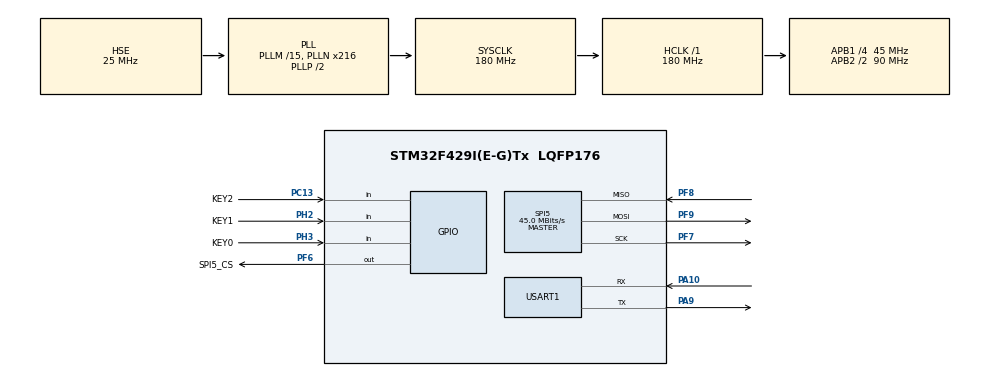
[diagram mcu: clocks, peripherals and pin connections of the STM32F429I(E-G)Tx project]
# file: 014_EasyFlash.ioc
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Mcu.Family=STM32F4
Mcu.Name=STM32F429I(E-G)Tx
Mcu.Package=LQFP176
NVIC.PriorityGroup=NVIC_PRIORITYGROUP_2
NVIC.TIM2_IRQn=true\:1\:0\:true\:false\:true\:true\:true
NVIC.USART1_IRQn=true\:1\:0\:true\:false\:true\:true\:true
PA10.Mode=Asynchronous
PA10.Signal=USART1_RX
PA13.Mode=Serial_Wire
PA13.Signal=SYS_JTMS-SWDIO
PA14.Mode=Serial_Wire
PA14.Signal=SYS_JTCK-SWCLK
PA9.Mode=Asynchronous
PA9.Signal=USART1_TX
PC13.GPIO_Label=KEY2
PC13.GPIO_PuPd=GPIO_PULLUP
PC13.Signal=GPIO_Input
PC14/OSC32_IN.Mode=LSE-External-Oscillator
PC14/OSC32_IN.Signal=RCC_OSC32_IN
PC15/OSC32_OUT.Mode=LSE-External-Oscillator
PC15/OSC32_OUT.Signal=RCC_OSC32_OUT
PF6.GPIO_Label=SPI5_CS
PF6.GPIO_PuPd=GPIO_PULLUP
PF6.GPIO_Speed=GPIO_SPEED_FREQ_VERY_HIGH
PF6.PinState=GPIO_PIN_SET
PF6.Signal=GPIO_Output
PF7.Mode=Full_Duplex_Master
PF7.Signal=SPI5_SCK
PF8.Mode=Full_Duplex_Master
PF8.Signal=SPI5_MISO
PF9.Mode=Full_Duplex_Master
PF9.Signal=SPI5_MOSI
PH0/OSC_IN.Mode=HSE-External-Oscillator
PH0/OSC_IN.Signal=RCC_OSC_IN
PH1/OSC_OUT.Mode=HSE-External-Oscillator
PH1/OSC_OUT.Signal=RCC_OSC_OUT
PH2.GPIO_Label=KEY1
PH2.GPIO_PuPd=GPIO_PULLUP
PH2.Signal=GPIO_Input
PH3.GPIO_Label=KEY0
PH3.GPIO_PuPd=GPIO_PULLUP
PH3.Signal=GPIO_Input
ProjectManager.HeapSize=0x200
ProjectManager.StackSize=0x400
ProjectManager.TargetToolchain=MDK-ARM V5.27
RCC.48MHZClocksFreq_Value=90000000
RCC.AHBFreq_Value=180000000
RCC.APB1CLKDivider=RCC_HCLK_DIV4
RCC.APB1Freq_Value=45000000
RCC.APB1TimFreq_Value=90000000
RCC.APB2CLKDivider=RCC_HCLK_DIV2
RCC.APB2Freq_Value=90000000
RCC.APB2TimFreq_Value=180000000
RCC.CortexFreq_Value=180000000
RCC.HCLKFreq_Value=180000000
RCC.HSE_VALUE=25000000
RCC.HSI_VALUE=16000000
RCC.PLLM=15
RCC.PLLN=216
RCC.PLLSourceVirtual=RCC_PLLSOURCE_HSE
RCC.SYSCLKFreq_VALUE=180000000
RCC.SYSCLKSource=RCC_SYSCLKSOURCE_PLLCLK
RCC.VCOOutputFreq_Value=360000000
SPI5.BaudRatePrescaler=SPI_BAUDRATEPRESCALER_2
SPI5.CalculateBaudRate=45.0 MBits/s
SPI5.Direction=SPI_DIRECTION_2LINES
SPI5.Mode=SPI_MODE_MASTER
SPI5.VirtualType=VM_MASTER
TIM2.Period=5-1
TIM2.Prescaler=45000-1
TIM6.AutoReloadPreload=TIM_AUTORELOAD_PRELOAD_ENABLE
TIM6.Period=65535
TIM6.Prescaler=45-1
USART1.VirtualMode=VM_ASYNC
VP_TIM2_VS_ClockSourceINT.Mode=Internal
VP_TIM6_VS_ClockSourceINT.Mode=Enable_Timer
board=custom

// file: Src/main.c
/* USER CODE BEGIN Header */
/**
  ******************************************************************************
  * @file           : main.c
  * @brief          : Main program body
  ******************************************************************************
  * @attention
  *
  * <h2><center>&copy; Copyright (c) 2021 STMicroelectronics.
  * All rights reserved.</center></h2>
  *
  * This software component is licensed by ST under BSD 3-Clause license,
  * the "License"; You may not use this file except in compliance with the
  * License. You may obtain a copy of the License at:
  *                        opensource.org/licenses/BSD-3-Clause
  *
  ******************************************************************************
  */
/* USER CODE END Header */

#include "main.h"
#include "spi.h"
#include "tim.h"
#include "usart.h"
#include "gpio.h"

/* USER CODE BEGIN Includes */
#include "config.h"

/* USER CODE END Includes */

void SystemClock_Config(void);

/* USER CODE BEGIN 0 */

//串口屏发送的校准  纸张数
int HMI_Page_Number = 0;

//开辟一块内存用于存放环形队列消息缓冲区
#define MSG_BUFFDATA_SIZE	128
static uint8_t msg_buffdata[MSG_BUFFDATA_SIZE];

//用于存储消息的环形缓冲队列的rt_ringbuffer句柄
struct rt_ringbuffer	msg_ringbuffer;

//系统消息处理
static uint8_t message_buff[256];
void msg_process(void)
{
	system_message sys_msg;

	if(rt_ringbuffer_data_len(&msg_ringbuffer)!= 0) //消息队列不为空，则有消息需要处理
	{
		rt_ringbuffer_get(&msg_ringbuffer,(uint8_t *) &sys_msg.msg_type, 2);//读取消息类型(1字节) + 消息参数(1字节)，其中：不同消息类型对应的消息参数意义也不同，由用户自行定义

		switch(sys_msg.msg_type)
		{
			case MSG_USART1_REC_FINISH://将内容放入HMIPaperNumber中
				rt_ringbuffer_get(&usart1_recv_ring_buf, message_buff, sys_msg.msg_parameter);//
				if(sys_msg.msg_parameter == 1 || sys_msg.msg_parameter == 2 )//sys_msg.msg_parameter中存放的是串口1接收帧的长度信息为1或2帧，即两位数字
				{
					HMI_Page_Number = (message_buff[1] - 48) *10 + (message_buff[0] - 48);//此处ASCII值，-“0”转化成数字

					printf("校准纸张数量为：%d\n",HMI_Page_Number);
				}
				else//sys_msg.msg_parameter中存放的是串口1接收帧的长度信息不为纸张帧数帧，即非两位数字
				{
				  message_buff[sys_msg.msg_parameter] = '\0';//sys_msg.msg_parameter中存放的是串口1接收帧的长度信息
			    printf("非输入合适的纸张数量：%s\n",message_buff);
				}
				break;

			case MSG_FDC2214_Data_Adjust:
				FDC2214_Data_Adjust();
				break;

			case MSG_Capcity_Paper_Detection:
				Capcity_Paper_Detection();
				break;
			default:break;
		}
	}
}

//申请三个按键结构
struct Button button0;

//三个按键状态读取接口
uint8_t read_button0_GPIO()
{
	return HAL_GPIO_ReadPin(KEY0_GPIO_Port, KEY0_Pin);
}

//按键回调函数
void button0_callback(void *button)
{
		//系统消息
		system_message  sys_msg;

    uint32_t btn_event_val;

    btn_event_val = get_button_event((struct Button *)button);

    switch(btn_event_val)
    {
	    case PRESS_DOWN:
	        printf("---> key0 press down! <---\r\n");
	    	break;

	    case PRESS_UP:
	        printf("***> key0 press up! <***\r\n");
	    	break;

	    case PRESS_REPEAT:
	        printf("---> key0 press repeat! <---\r\n");
	    	break;

	    case SINGLE_CLICK: //send msg MSG_W25QXX_TEST,in order to test w25q64 example
//					sys_msg.msg_type = MSG_W25QXX_TEST;
					sys_msg.msg_type = MSG_FDC2214_Data_Adjust;
					sys_msg.msg_parameter = 0;
					rt_ringbuffer_put(&msg_ringbuffer,(uint8_t *)&sys_msg.msg_type,2);
	        printf("---> key0 single click! <---\r\n");
	    	break;

			case DOUBLE_CLICK://send msg MSG_EASYFLASH_TEST,in order to test EASYFLASH example
//					sys_msg.msg_type = MSG_EASYFLASH_TEST;
					sys_msg.msg_type = MSG_Capcity_Paper_Detection;
					sys_msg.msg_parameter = 0;
					rt_ringbuffer_put(&msg_ringbuffer,(uint8_t *)&sys_msg.msg_type,2);
					printf("---> key0 double click! <---\r\n");
				break;

	    case LONG_PRESS_START:
	        printf("---> key0 long press start! <---\r\n");
	   		break;

	    case LONG_PRESS_HOLD:
	        printf("***> key0 long press hold! <***\r\n");
	    	break;
	}
}

//TIM回调
void HAL_TIM_PeriodElapsedCallback(TIM_HandleTypeDef *htim)
{
	//处理TIM2定时中断，进行按键处理 5ms
	if(htim->Instance == htim2.Instance)
	{
		button_ticks();
	}

}

/*****************************w25qxx example****************************************/
char w25qxx_test_string[6][128]={
	"***************************Copyright (c)***************************",
	"**----------------------Hello World !!! -------------------------**",
	"** Thanks to armink:https://github.com/armink/SFUD               **",
	"** reference:                                                    **",
	"** https://mculover666.blog.csdn.net/article/details/105516371   **",
	"*******************************************************************"
};
//w25qxx_test测试
//void w25qxx_test(void)
//{
//	int i;
//	char sBuff[256]={0};
////	sfud_err result = SFUD_SUCCESS;
//    const sfud_flash *flash = sfud_get_device_table() + 0;
//
//	for(i=0;i<6;i++)
//	{
//		sfud_erase_write(flash, 0, strlen(w25qxx_test_string[i]),(uint8_t *)w25qxx_test_string[i]);
//	    sfud_read(flash, 0, strlen(w25qxx_test_string[i]),(uint8_t *) sBuff);
//	    printf("%s\n",sBuff);
//	}
//}

//初始化easyflash函数返回值，用于判断是否初始化成功
unsigned char ret = 0;

//编写一个EasyFlash测试函数
//void test_env(void)
//{
//	char wifi_ssid[20] = {0};
//	char wifi_passwd[20] = {0};
//	size_t len = 0;
//
//	/* 读取默认环境变量值 */
//	//环境变量长度未知，先获取 Flash 上存储的实际长度 */
//	ef_get_env_blob("wifi_ssid", NULL, 0, &len);
//	//获取环境变量
//	ef_get_env_blob("wifi_ssid", wifi_ssid, len, NULL);
//	//打印获取的环境变量值
//	printf("wifi_ssid env is:%s\r\n", wifi_ssid);
//
//	//环境变量长度未知，先获取 Flash 上存储的实际长度 */
//	ef_get_env_blob("wifi_passwd", NULL, 0, &len);
//	//获取环境变量
//	ef_get_env_blob("wifi_passwd", wifi_passwd, len, NULL);
//	//打印获取的环境变量值
//	printf("wifi_passwd env is:%s\r\n", wifi_passwd);
//
//	/* 将环境变量值改变 */
//	ef_set_env_blob("wifi_ssid", "SSID_TEST", 9);
//	ef_set_env_blob("wifi_passwd", "66666666", 8);

//}

/* USER CODE END 0 */

int main(void)
{

  /* MCU Configuration--------------------------------------------------------*/

  /* Reset of all peripherals, Initializes the Flash interface and the Systick. */
  HAL_Init();

  /* Configure the system clock */
  SystemClock_Config();

  /* Initialize all configured peripherals */
  MX_GPIO_Init();
  MX_SPI5_Init();
  MX_USART1_UART_Init();
  MX_TIM2_Init();
  MX_TIM6_Init();
  /* USER CODE BEGIN 2 */

	printf("MultiButton+RingBuffer+SFUD+EasyFlash+fdc Test...\r\n");

	//初始化消息环形队列
	IIC_Init();
  HAL_Delay_us(5);

	//初始化消息环形队列
	FDC2214_Init();
	HAL_Delay_us(5);

	//初始化消息环形队列
	rt_ringbuffer_init(&msg_ringbuffer, msg_buffdata, MSG_BUFFDATA_SIZE);
  HAL_Delay_us(5);

	//初始化sfud
//	sfud_init();

	//初始化easyflash
	easyflash_init();
	HAL_Delay_us(5);
	if(ret != EF_NO_ERR)
{
	printf("EasyFlash init fail, EfErrCode = %d.r\n", ret);
}

	//初始化三个按键对象
	button_init(&button0, read_button0_GPIO, 0);

	//注册按钮事件回调函数
	//按键0
//	button_attach(&button0, PRESS_DOWN,       button1_callback);
//	button_attach(&button0, PRESS_UP,         button1_callback);
//	button_attach(&button0, PRESS_REPEAT,     button1_callback);
	button_attach(&button0, SINGLE_CLICK,     button0_callback);
	button_attach(&button0, DOUBLE_CLICK,     button0_callback);
//	button_attach(&button0, LONG_PRESS_START, button1_callback);
//	button_attach(&button0, LONG_PRESS_HOLD,  button1_callback);

	//启动按键
	button_start(&button0);

	//启动定时器
	HAL_TIM_Base_Start_IT(&htim2);

	//读取Flash中的数据，分割好 电容区间
	DataSubsection(Cap_Division,FDC2214_Data_In_Flash);

  /* USER CODE END 2 */

  /* Infinite loop */
  /* USER CODE BEGIN WHILE */
  while (1)
  {
		//		HAL_Delay(200);
		msg_process();

    /* USER CODE END WHILE */

  }
}

void SystemClock_Config(void)
{
  RCC_OscInitTypeDef RCC_OscInitStruct = {0};
  RCC_ClkInitTypeDef RCC_ClkInitStruct = {0};

  /** Configure the main internal regulator output voltage
  */
  __HAL_RCC_PWR_CLK_ENABLE();
  __HAL_PWR_VOLTAGESCALING_CONFIG(PWR_REGULATOR_VOLTAGE_SCALE1);
  /** Initializes the CPU, AHB and APB busses clocks
  */
  RCC_OscInitStruct.OscillatorType = RCC_OSCILLATORTYPE_HSE;
  RCC_OscInitStruct.HSEState = RCC_HSE_ON;
  RCC_OscInitStruct.PLL.PLLState = RCC_PLL_ON;
  RCC_OscInitStruct.PLL.PLLSource = RCC_PLLSOURCE_HSE;
  RCC_OscInitStruct.PLL.PLLM = 15;
  RCC_OscInitStruct.PLL.PLLN = 216;
  RCC_OscInitStruct.PLL.PLLP = RCC_PLLP_DIV2;
  RCC_OscInitStruct.PLL.PLLQ = 4;
  if (HAL_RCC_OscConfig(&RCC_OscInitStruct) != HAL_OK)
  {
    Error_Handler();
  }
  /** Activate the Over-Drive mode
  */
  if (HAL_PWREx_EnableOverDrive() != HAL_OK)
  {
    Error_Handler();
  }
  /** Initializes the CPU, AHB and APB busses clocks
  */
  RCC_ClkInitStruct.ClockType = RCC_CLOCKTYPE_HCLK|RCC_CLOCKTYPE_SYSCLK
                              |RCC_CLOCKTYPE_PCLK1|RCC_CLOCKTYPE_PCLK2;
  RCC_ClkInitStruct.SYSCLKSource = RCC_SYSCLKSOURCE_PLLCLK;
  RCC_ClkInitStruct.AHBCLKDivider = RCC_SYSCLK_DIV1;
  RCC_ClkInitStruct.APB1CLKDivider = RCC_HCLK_DIV4;
  RCC_ClkInitStruct.APB2CLKDivider = RCC_HCLK_DIV2;

  if (HAL_RCC_ClockConfig(&RCC_ClkInitStruct, FLASH_LATENCY_5) != HAL_OK)
  {
    Error_Handler();
  }
}

/* USER CODE BEGIN 4 */
void HAL_Delay_us(uint16_t us)
{
	uint16_t differ=0xffff-us-5;					//设定定时器计数器起始值

	__HAL_TIM_SET_COUNTER(&htim6,differ);

	HAL_TIM_Base_Start(&htim6);					//启动定时器

 while(differ<0xffff-6)							//补偿，判断
 {

  differ=__HAL_TIM_GET_COUNTER(&htim6);			//查询计数器的计数值

 }

 HAL_TIM_Base_Stop(&htim6);

}

/* USER CODE END 4 */

void Error_Handler(void)
{
}

/************************ (C) COPYRIGHT STMicroelectronics *****END OF FILE****/
